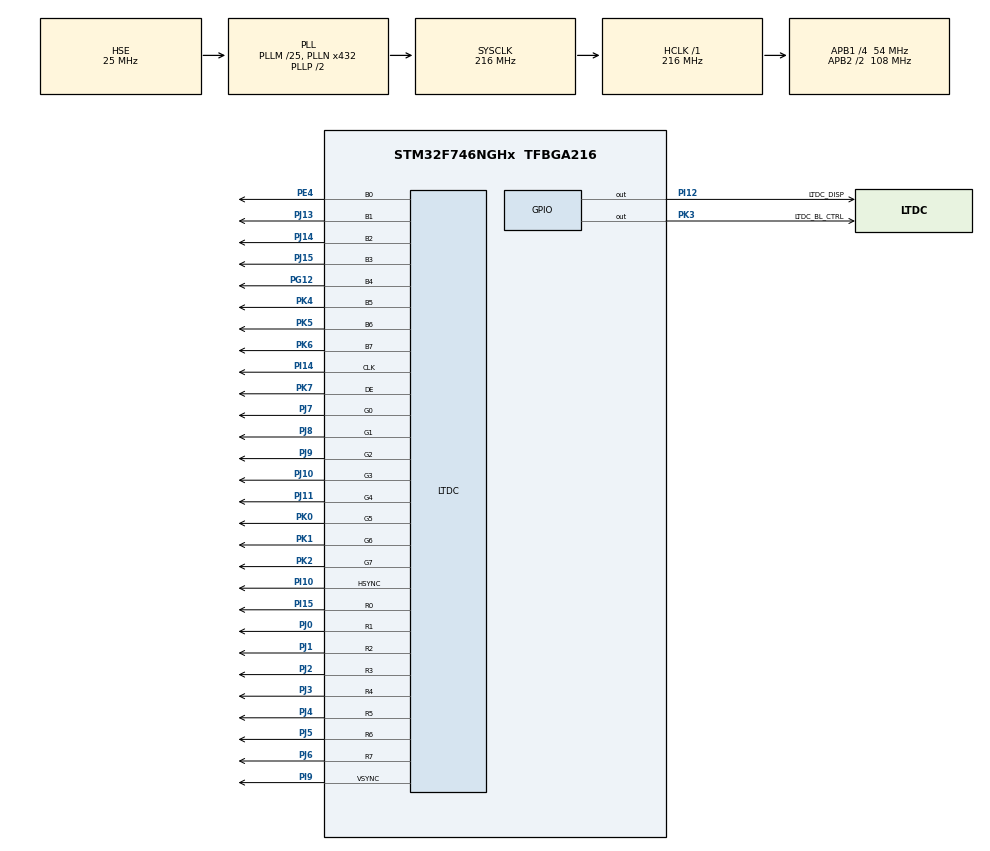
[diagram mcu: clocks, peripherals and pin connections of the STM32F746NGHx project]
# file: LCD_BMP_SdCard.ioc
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CORTEX_M7.AccessPermission-Cortex_Memory_Protection_Unit_Region0_Settings=MPU_REGION_FULL_ACCESS
CORTEX_M7.BaseAddress-Cortex_Memory_Protection_Unit_Region0_Settings=0x20010000
CORTEX_M7.CPU_DCache=Disabled
CORTEX_M7.CPU_ICache=Disabled
CORTEX_M7.Enable-Cortex_Memory_Protection_Unit_Region0_Settings=MPU_REGION_ENABLE
CORTEX_M7.IsCacheable-Cortex_Memory_Protection_Unit_Region0_Settings=MPU_ACCESS_CACHEABLE
CORTEX_M7.MPU_Control=__NULL
CORTEX_M7.Size-Cortex_Memory_Protection_Unit_Region0_Settings=MPU_REGION_SIZE_256KB
LTDC.ActiveH=272
LTDC.ActiveW=480
LTDC.Alpha_L0=255
LTDC.HBP=13
LTDC.HFP=32
LTDC.HSync=41
LTDC.ImageHeight_L0=272
LTDC.ImageWidth_L0=480
LTDC.Layers=0
LTDC.PixelFormat_L0=LTDC_PIXEL_FORMAT_RGB565
LTDC.VSync=10
LTDC.WindowX1_L0=480
LTDC.WindowY1_L0=272
Mcu.Family=STM32F7
Mcu.Name=STM32F746NGHx
Mcu.Package=TFBGA216
NVIC.PriorityGroup=NVIC_PRIORITYGROUP_4
PA13.Mode=Trace_Asynchronous_SW
PA13.Signal=SYS_JTMS-SWDIO
PA14.Mode=Trace_Asynchronous_SW
PA14.Signal=SYS_JTCK-SWCLK
PB3.Mode=Trace_Asynchronous_SW
PB3.Signal=SYS_JTDO-SWO
PE4.GPIO_Speed=GPIO_SPEED_FREQ_HIGH
PE4.Mode=RGB888
PE4.Signal=LTDC_B0
PG12.GPIO_Speed=GPIO_SPEED_FREQ_HIGH
PG12.Mode=RGB888
PG12.Signal=LTDC_B4
PH0/OSC_IN.Mode=HSE-External-Oscillator
PH0/OSC_IN.Signal=RCC_OSC_IN
PH1/OSC_OUT.Mode=HSE-External-Oscillator
PH1/OSC_OUT.Signal=RCC_OSC_OUT
PI10.GPIO_Speed=GPIO_SPEED_FREQ_HIGH
PI10.Mode=RGB888
PI10.Signal=LTDC_HSYNC
PI12.GPIO_Label=LTDC_DISP
PI12.GPIO_Speed=GPIO_SPEED_FREQ_HIGH
PI12.PinState=GPIO_PIN_SET
PI12.Signal=GPIO_Output
PI14.GPIO_Speed=GPIO_SPEED_FREQ_HIGH
PI14.Mode=RGB888
PI14.Signal=LTDC_CLK
PI15.GPIO_Speed=GPIO_SPEED_FREQ_HIGH
PI15.Mode=RGB888
PI15.Signal=LTDC_R0
PI9.GPIO_Speed=GPIO_SPEED_FREQ_HIGH
PI9.Mode=RGB888
PI9.Signal=LTDC_VSYNC
PJ0.GPIO_Speed=GPIO_SPEED_FREQ_HIGH
PJ0.Mode=RGB888
PJ0.Signal=LTDC_R1
PJ1.GPIO_Speed=GPIO_SPEED_FREQ_HIGH
PJ1.Mode=RGB888
PJ1.Signal=LTDC_R2
PJ10.GPIO_Speed=GPIO_SPEED_FREQ_HIGH
PJ10.Mode=RGB888
PJ10.Signal=LTDC_G3
PJ11.GPIO_Speed=GPIO_SPEED_FREQ_HIGH
PJ11.Mode=RGB888
PJ11.Signal=LTDC_G4
PJ13.GPIO_Speed=GPIO_SPEED_FREQ_HIGH
PJ13.Mode=RGB888
PJ13.Signal=LTDC_B1
PJ14.GPIO_Speed=GPIO_SPEED_FREQ_HIGH
PJ14.Mode=RGB888
PJ14.Signal=LTDC_B2
PJ15.GPIO_Speed=GPIO_SPEED_FREQ_HIGH
PJ15.Mode=RGB888
PJ15.Signal=LTDC_B3
PJ2.GPIO_Speed=GPIO_SPEED_FREQ_HIGH
PJ2.Mode=RGB888
PJ2.Signal=LTDC_R3
PJ3.GPIO_Speed=GPIO_SPEED_FREQ_HIGH
PJ3.Mode=RGB888
PJ3.Signal=LTDC_R4
PJ4.GPIO_Speed=GPIO_SPEED_FREQ_HIGH
PJ4.Mode=RGB888
PJ4.Signal=LTDC_R5
PJ5.GPIO_Speed=GPIO_SPEED_FREQ_HIGH
PJ5.Mode=RGB888
PJ5.Signal=LTDC_R6
PJ6.GPIO_Speed=GPIO_SPEED_FREQ_HIGH
PJ6.Mode=RGB888
PJ6.Signal=LTDC_R7
PJ7.GPIO_Speed=GPIO_SPEED_FREQ_HIGH
PJ7.Mode=RGB888
PJ7.Signal=LTDC_G0
PJ8.GPIO_Speed=GPIO_SPEED_FREQ_HIGH
PJ8.Mode=RGB888
PJ8.Signal=LTDC_G1
PJ9.GPIO_Speed=GPIO_SPEED_FREQ_HIGH
PJ9.Mode=RGB888
PJ9.Signal=LTDC_G2
PK0.GPIO_Speed=GPIO_SPEED_FREQ_HIGH
PK0.Mode=RGB888
PK0.Signal=LTDC_G5
PK1.GPIO_Speed=GPIO_SPEED_FREQ_HIGH
PK1.Mode=RGB888
PK1.Signal=LTDC_G6
PK2.GPIO_Speed=GPIO_SPEED_FREQ_HIGH
PK2.Mode=RGB888
PK2.Signal=LTDC_G7
PK3.GPIO_Label=LTDC_BL_CTRL
PK3.GPIO_Speed=GPIO_SPEED_FREQ_HIGH
PK3.PinState=GPIO_PIN_SET
PK3.Signal=GPIO_Output
PK4.GPIO_Speed=GPIO_SPEED_FREQ_HIGH
PK4.Mode=RGB888
PK4.Signal=LTDC_B5
PK5.GPIO_Speed=GPIO_SPEED_FREQ_HIGH
PK5.Mode=RGB888
PK5.Signal=LTDC_B6
PK6.GPIO_Speed=GPIO_SPEED_FREQ_HIGH
PK6.Mode=RGB888
PK6.Signal=LTDC_B7
PK7.GPIO_Speed=GPIO_SPEED_FREQ_HIGH
PK7.Mode=RGB888
PK7.Signal=LTDC_DE
ProjectManager.HeapSize=0x200
ProjectManager.StackSize=0x400
ProjectManager.TargetToolchain=STM32CubeIDE
RCC.AHBFreq_Value=216000000
RCC.APB1CLKDivider=RCC_HCLK_DIV4
RCC.APB1Freq_Value=54000000
RCC.APB1TimFreq_Value=108000000
RCC.APB2CLKDivider=RCC_HCLK_DIV2
RCC.APB2Freq_Value=108000000
RCC.APB2TimFreq_Value=216000000
RCC.CortexFreq_Value=216000000
RCC.HCLKFreq_Value=216000000
RCC.HSE_VALUE=25000000
RCC.HSI_VALUE=16000000
RCC.LSE_VALUE=32768
RCC.PLLM=25
RCC.PLLN=432
RCC.PLLQ=9
RCC.PLLSAIN=100
RCC.PLLSAIR=5
RCC.PLLSourceVirtual=RCC_PLLSOURCE_HSE
RCC.SYSCLKFreq_VALUE=216000000
RCC.SYSCLKSource=RCC_SYSCLKSOURCE_PLLCLK
RCC.USBFreq_Value=48000000
RCC.VCOOutputFreq_Value=432000000
VP_RNG_VS_RNG.Mode=RNG_Activate
board=custom

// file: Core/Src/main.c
/* USER CODE BEGIN Header */
/**
  ******************************************************************************
  * @file           : main.c
  * @brief          : Main program body
  ******************************************************************************
  * @attention
  *
  * Copyright (c) 2025 STMicroelectronics.
  * All rights reserved.
  *
  * This software is licensed under terms that can be found in the LICENSE file
  * in the root directory of this software component.
  * If no LICENSE file comes with this software, it is provided AS-IS.
  *
  ******************************************************************************
  */
/* USER CODE END Header */
#include "main.h"
#include "ltdc.h"
#include "rng.h"
#include "gpio.h"

/* USER CODE BEGIN Includes */
#include "string.h"
#include "stdlib.h"
/* USER CODE END Includes */

/* USER CODE BEGIN PD */
#define swap(a, b) {int16_t t = a; a = b; b = t;}
/* USER CODE END PD */

/* USER CODE BEGIN PV */
volatile uint32_t RGB565_480x272[65280] = {0x00000000};
/* USER CODE END PV */

void SystemClock_Config(void);
/* USER CODE BEGIN PFP */
void TFT_FillScreen(uint32_t color);
void TFT_FillRectangle(uint16_t x1, uint16_t y1, uint16_t x2, uint16_t y2, uint16_t color);
void TFT_DrawPixel(uint16_t Xpos, uint16_t Ypos, uint32_t color);
void TFT_DrawLine(uint16_t x1, uint16_t y1, uint16_t x2, uint16_t y2, uint16_t color);
/* USER CODE END PFP */

int main(void)
{

  /* MCU Configuration--------------------------------------------------------*/

  /* Reset of all peripherals, Initializes the Flash interface and the Systick. */
  HAL_Init();

  /* Configure the system clock */
  SystemClock_Config();

  /* Initialize all configured peripherals */
  MX_GPIO_Init();
  MX_LTDC_Init();
  MX_RNG_Init();
  /* USER CODE BEGIN 2 */
  HAL_LTDC_SetAddress(&hltdc, (uint32_t) &RGB565_480x272, 0);
  TFT_FillScreen((uint32_t)0x0000);
  /* USER CODE END 2 */

  /* Infinite loop */
  while (1)
  {

    /* USER CODE BEGIN 3 */
		for(uint16_t i = 0; i < 100; i++)
		{
			TFT_FillScreen((uint16_t)HAL_RNG_GetRandomNumber(&hrng));
			HAL_Delay(100);
		}

		TFT_FillScreen(0);
		HAL_Delay(1000);

		for(uint16_t i = 0; i < 1000; i++)
		{
			TFT_FillRectangle(HAL_RNG_GetRandomNumber(&hrng)%480,
				HAL_RNG_GetRandomNumber(&hrng)%272,
				HAL_RNG_GetRandomNumber(&hrng)%480,
				HAL_RNG_GetRandomNumber(&hrng)%272,
				(uint16_t)HAL_RNG_GetRandomNumber(&hrng));
			HAL_Delay(10);
		}

		TFT_FillScreen(0);
		HAL_Delay(1000);

		for(uint16_t i = 0; i < 10000; i++)
		{
			for(uint16_t j = 0; j < 100; j++)
			{
				TFT_DrawPixel(HAL_RNG_GetRandomNumber(&hrng)%480, HAL_RNG_GetRandomNumber(&hrng)%272, 0);
			}

			TFT_DrawPixel(HAL_RNG_GetRandomNumber(&hrng)%480, HAL_RNG_GetRandomNumber(&hrng)%272, (uint16_t)HAL_RNG_GetRandomNumber(&hrng));
			HAL_Delay(1);
		}

		TFT_FillScreen(0);
		HAL_Delay(1000);

		for(uint16_t i = 0; i < 1000; i++)
		{
			TFT_DrawLine(HAL_RNG_GetRandomNumber(&hrng)%480,
				HAL_RNG_GetRandomNumber(&hrng)%272,
				HAL_RNG_GetRandomNumber(&hrng)%480,
				HAL_RNG_GetRandomNumber(&hrng)%272,
				(uint16_t)HAL_RNG_GetRandomNumber(&hrng));
			HAL_Delay(10);
		}

		TFT_FillScreen(0);
		HAL_Delay(1000);
  }
  /* USER CODE END 3 */
}

void SystemClock_Config(void)
{
  RCC_OscInitTypeDef RCC_OscInitStruct = {0};
  RCC_ClkInitTypeDef RCC_ClkInitStruct = {0};

  /** Configure the main internal regulator output voltage
  */
  __HAL_RCC_PWR_CLK_ENABLE();
  __HAL_PWR_VOLTAGESCALING_CONFIG(PWR_REGULATOR_VOLTAGE_SCALE1);

  /** Initializes the RCC Oscillators according to the specified parameters
  * in the RCC_OscInitTypeDef structure.
  */
  RCC_OscInitStruct.OscillatorType = RCC_OSCILLATORTYPE_HSE;
  RCC_OscInitStruct.HSEState = RCC_HSE_ON;
  RCC_OscInitStruct.PLL.PLLState = RCC_PLL_ON;
  RCC_OscInitStruct.PLL.PLLSource = RCC_PLLSOURCE_HSE;
  RCC_OscInitStruct.PLL.PLLM = 25;
  RCC_OscInitStruct.PLL.PLLN = 432;
  RCC_OscInitStruct.PLL.PLLP = RCC_PLLP_DIV2;
  RCC_OscInitStruct.PLL.PLLQ = 9;
  if (HAL_RCC_OscConfig(&RCC_OscInitStruct) != HAL_OK)
  {
    Error_Handler();
  }

  /** Activate the Over-Drive mode
  */
  if (HAL_PWREx_EnableOverDrive() != HAL_OK)
  {
    Error_Handler();
  }

  /** Initializes the CPU, AHB and APB buses clocks
  */
  RCC_ClkInitStruct.ClockType = RCC_CLOCKTYPE_HCLK|RCC_CLOCKTYPE_SYSCLK
                              |RCC_CLOCKTYPE_PCLK1|RCC_CLOCKTYPE_PCLK2;
  RCC_ClkInitStruct.SYSCLKSource = RCC_SYSCLKSOURCE_PLLCLK;
  RCC_ClkInitStruct.AHBCLKDivider = RCC_SYSCLK_DIV1;
  RCC_ClkInitStruct.APB1CLKDivider = RCC_HCLK_DIV4;
  RCC_ClkInitStruct.APB2CLKDivider = RCC_HCLK_DIV2;

  if (HAL_RCC_ClockConfig(&RCC_ClkInitStruct, FLASH_LATENCY_7) != HAL_OK)
  {
    Error_Handler();
  }
}

/* USER CODE BEGIN 4 */
void TFT_FillScreen(uint32_t color)
{
	uint32_t i;
	uint32_t n = hltdc.LayerCfg[0].ImageHeight * hltdc.LayerCfg[0].ImageWidth;

	for(i = 0; i < n; i++)
	{
		*(__IO uint16_t*)(hltdc.LayerCfg[0].FBStartAdress + (i*2)) = (uint16_t)color;
	}
}
// <---- ------------------------------------- ---->
void TFT_FillRectangle(uint16_t x1, uint16_t y1, uint16_t x2, uint16_t y2, uint16_t color)
{
	uint32_t xpos,ypos;

	if(x1 > x2)
	{
		swap(x1, x2);
	}
	if(y1 > y2)
	{
		swap(y1, y2);
	}
	for(ypos = y1; ypos <= y2; ypos++)
	{
		for(xpos = x1; xpos <= x2; xpos++)
		{
			*(__IO uint16_t*)(hltdc.LayerCfg[0].FBStartAdress + (2 * (ypos * hltdc.LayerCfg[0].ImageWidth + xpos))) = (uint16_t)color;
		}
	}
}
// <---- ------------------------------------- ---->
void TFT_DrawPixel(uint16_t Xpos, uint16_t Ypos, uint32_t color)
{
	*(__IO uint16_t*)(hltdc.LayerCfg[0].FBStartAdress + (2 * (Ypos * hltdc.LayerCfg[0].ImageWidth + Xpos))) = (uint16_t)color;
}
// <---- ------------------------------------- ---->
void TFT_DrawLine(uint16_t x1, uint16_t y1, uint16_t x2, uint16_t y2, uint16_t color)
{
	int steep = abs(y2 - y1) > abs(x2 - x1);

	if(steep)
	{
		swap(x1, y1);
		swap(x2, y2);
	}
	if(x1 > x2)
	{
		swap(x1, x2);
		swap(y1, y2);
	}
	int dx, dy;
	dx = x2 - x1;
	dy = abs(y2 - y1);

	int err = dx / 2;
	int ystep;

	if(y1 < y2)
	{
		ystep = 1;
	}
	else
	{
		ystep = -1;
	}
	for(; x1 <= x2; x1++)
	{
		if(steep)
		{
			TFT_DrawPixel(y1, x1, color);
		}
		else
		{
			TFT_DrawPixel(x1, y1, color);
		}
		err -= dy;

		if(err < 0)
		{
			y1 += ystep;
			err = dx;
		}
	}
}
/* USER CODE END 4 */

void Error_Handler(void)
{
  __disable_irq();
  while (1)
  {
  }
}
